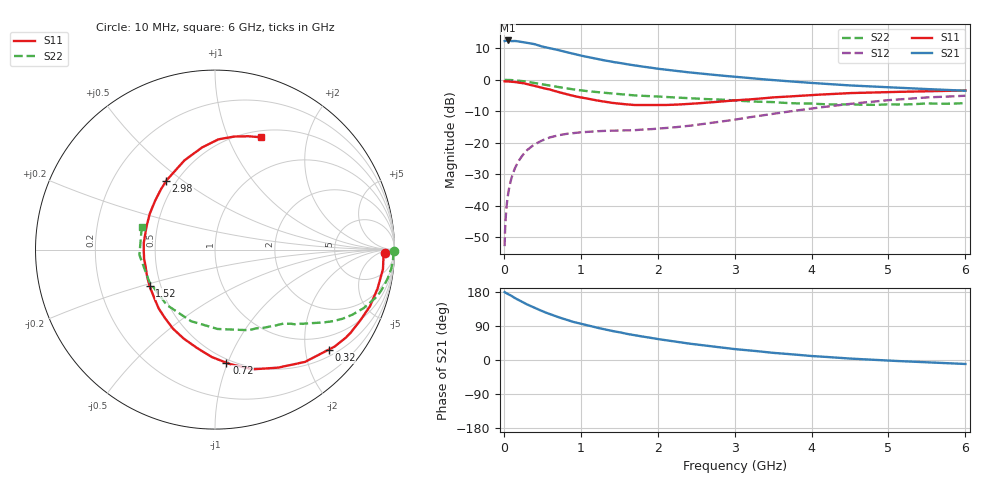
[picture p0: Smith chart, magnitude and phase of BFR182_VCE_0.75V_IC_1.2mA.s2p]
! Infineon Technologies  Discrete & RF Semiconductors
! BFR182
! VCE = 0.75 V,  IC =  1.2 mA
! Common Emitter S-Parameters:  Nov 2015
# GHz  S  MA  R  50
!  f  S11  S21  S12  S22
! GHz  MAG  ANG  MAG  ANG  MAG  ANG  MAG  ANG
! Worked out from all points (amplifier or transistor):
!   210 points, 10 MHz to 6 GHz, reference 50 ohm
!   highest |S21| = 12.5 dB at 50 MHz (marker M1)
!   |S21| within 3 dB of that: start of sweep to 700.6 MHz
!   unconditionally stable (mu >= 1): 1.623 GHz to 3.546 GHz
!   at 185 MHz: K = 0.14, MSG = 19.1 dB, |S12| = -26.1 dB
!   at 1.52 GHz: K = 0.95, MSG = 10.7 dB, |S12| = -16.1 dB
!   at 6 GHz: K = 0.98, MSG = 0.8 dB, |S12| = -5.1 dB
!   S11 on the Smith chart (normalised r, x): 10 MHz: 32, -12; 320 MHz: 0.65, -2.50; 720 MHz: 0.47, -0.99; 1.52 GHz: 0.43, -0.21; 2.98 GHz: 0.44, +0.43; 6 GHz: 0.57, +1.33
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0.01  0.9465 -1.2  4.111 179.3  0.0023 91.7  0.9969 -0.6
0.015  0.9429 -1.9  4.119 178.5  0.0038 87.0  0.9953 -0.9
0.025  0.9396 -3.3  4.139 177.2  0.0067 85.4  0.9937 -1.6
0.05  0.9421 -6.6  4.199 174.5  0.0139 86.3  0.9935 -3.1
0.09  0.9326 -12.0  4.119 170.3  0.025 82.4  0.9891 -5.4
0.145  0.9201 -19.3  4.12 163.3  0.0397 77.9  0.9784 -8.8
0.24  0.8863 -31.5  3.95 153.2  0.0626 70.5  0.9529 -14.0
0.32  0.8434 -41.4  3.816 145.1  0.0798 65.4  0.9224 -17.9
0.4  0.8018 -51.3  3.669 137.7  0.0947 60.1  0.8892 -21.6
0.5  0.7456 -61.9  3.361 128.5  0.1094 54.7  0.8465 -25.4
0.6  0.6996 -72.4  3.16 120.8  0.1221 50.2  0.808 -28.5
0.72  0.6338 -84.2  2.93 112.3  0.1324 45.7  0.7627 -31.6
0.9  0.5569 -100.4  2.593 100.7  0.1429 40.9  0.7037 -35.4
1.02  0.5196 -111.0  2.391 94.5  0.1474 38.5  0.6746 -37.4
1.2  0.4718 -126.4  2.151 85.6  0.1524 35.9  0.6396 -40.3
1.52  0.4162 -151.0  1.836 72.5  0.1568 35.3  0.5901 -44.4
2.02  0.3981 173.3  1.487 54.7  0.1689 39.4  0.5414 -51.4
2.98  0.4687 125.6  1.123 29.3  0.231 47.9  0.4715 -71.7
3.1  0.4789 121.4  1.09 27.0  0.2438 47.9  0.4617 -75.2
4.1  0.5808 95.3  0.874 9.3  0.3628 42.9  0.4131 -112.8
5.1  0.6419 79.0  0.75 -2.5  0.484 29.5  0.4056 -158.6
6  0.6762 67.7  0.67 -10.5  0.5584 14.9  0.4266 163.0
